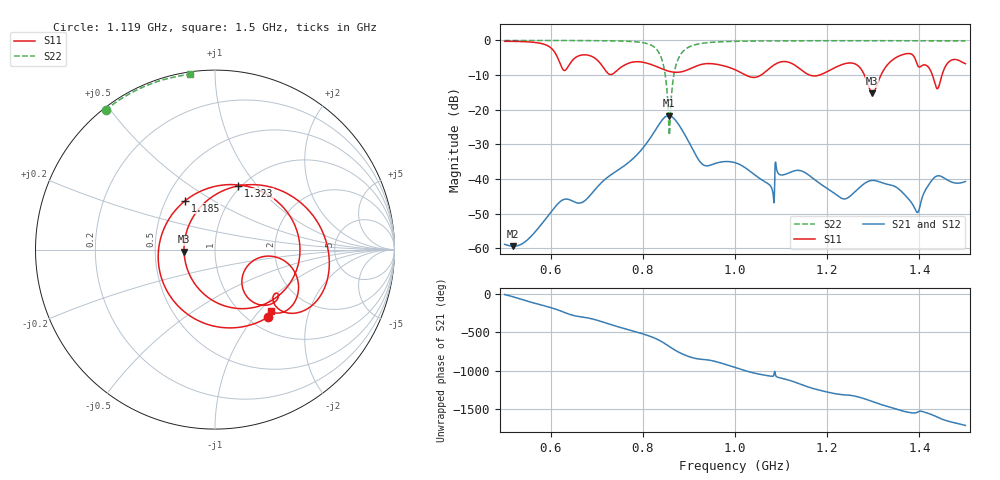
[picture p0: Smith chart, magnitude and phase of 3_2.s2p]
! TOUCHSTONE file generated by CST MICROWAVE STUDIO
! Date and time: Thu Feb 11 19:31:07 2021
! Project name: Scenario_1_Planar_Body_Tissue_Out_of_Line.cst
! Parameters = {L_HA=400; Ltissue=1000; MT=2.54; Rad_Dielectric=30; Rad_Lower=7.3; Rad_Upper=30; Wtissue=1000; a_HA=580; a_WG=246; b_HA=500; b_WG=121; c_HA=0; c_WG=187; d_feed=85; dx1=346; dy1=-311.4; h_feed=15; h_lower=18; h_upper=40; hfat=3; hgap=25; hmuscle=50; hskin=1.5}
! Header version: 2018
! Port assignment regex: !\s*Touchstone port\s*([0-9]+)\s*=\s*(CST MWS port|CST DS port)\s*([0-9]+|Zmin|Zmax)\s*\(\"(.*)\"\)(\s*mode\s*([0-9]+))?.*
! Touchstone port assignment:
! Touchstone port 1 = CST MWS port 1 ("")
! Touchstone port 2 = CST MWS port 2 ("")
# GHz S DB R 50
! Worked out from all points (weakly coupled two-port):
!   1003 points, 500 MHz to 1.5 GHz, reference 50 ohm
!   highest |S21| = -21.68 dB at 856 MHz (marker M1); lowest = -59.4 dB at 519 MHz (marker M2)
!   lowest |S11| = -15.2 dB at 1.298 GHz (marker M3), VSWR 1.42, Z = 35.3 - j0.874 ohm
!   |S11| at or under -10 dB: 1.023 GHz to 1.056 GHz (33.26 MHz wide, 3.2 % of centre); 1.162 GHz to 1.183 GHz (21.08 MHz wide, 1.8 % of centre); 1.281 GHz to 1.317 GHz (35.91 MHz wide, 2.76 % of centre) (the widest 3 of 4)
!   |S22| runs from -27.3 to 0.0 dB; largest |S21 - S12| = 0.0028
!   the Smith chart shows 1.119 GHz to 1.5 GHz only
!   S11 on the Smith chart (normalised r, x): 1.119 GHz: 1.22, -1.18; 1.185 GHz: 0.63, +0.38; 1.323 GHz: 0.97, +0.80; 1.5 GHz: 1.33, -1.16
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0.5  -0.26 -121.7  -58.85 -5.8  -58.85 -5.8  -0.01 151.1
0.519  -0.27 -129.9  -59.37 -36.1  -59.37 -36.1  -0.01 149.9
0.667  -4.22 159.8  -46.81 62.0  -46.80 62.0  -0.04 138.4
0.719  -8.68 24.4  -39.97 -15.8  -39.97 -15.8  -0.09 132.4
0.743  -8.78 -98.3  -37.69 -60.9  -37.69 -60.9  -0.14 128.8
0.773  -6.41 172.3  -34.78 -112.2  -34.78 -112.2  -0.28 122.4
0.834  -7.78 38.1  -24.46 121.7  -24.46 121.7  -3.32 82.9
0.856  -8.87 -19.7  -21.68 41.3  -21.68 41.3  -23.29 8.3
0.907  -7.92 -176.8  -31.12 -109.3  -31.12 -109.3  -1.51 164.2
0.939  -6.69 84.2  -36.20 -138.1  -36.19 -138.1  -0.66 151.8
1  -8.45 -63.8  -35.28 122.2  -35.28 122.2  -0.27 140.3
1.042  -10.67 -178.2  -38.71 48.4  -38.71 48.4  -0.18 135.3
1.075  -8.05 76.7  -41.69 10.6  -41.69 10.6  -0.14 132.0
1.119  -6.40 -51.6  -38.10 -46.9  -38.10 -46.9  -0.11 128.1
1.167  -10.18 168.8  -39.56 -148.1  -39.56 -148.1  -0.09 124.2
1.185  -9.92 121.1  -41.37 -177.3  -41.37 -177.3  -0.09 122.8
1.249  -6.50 0.8  -45.03 119.2  -45.03 119.2  -0.09 118.0
1.298  -15.25 -176.0  -40.39 36.7  -40.39 36.7  -0.08 114.3
1.323  -8.47 70.1  -41.25 -13.1  -41.25 -13.1  -0.09 112.4
1.334  -6.56 47.5  -41.60 -32.4  -41.60 -32.4  -0.09 111.5
1.388  -4.56 -35.9  -47.90 -112.4  -47.90 -112.4  -0.09 107.4
1.5  -6.70 -47.6  -40.71 84.9  -40.71 84.9  -0.13 98.0
